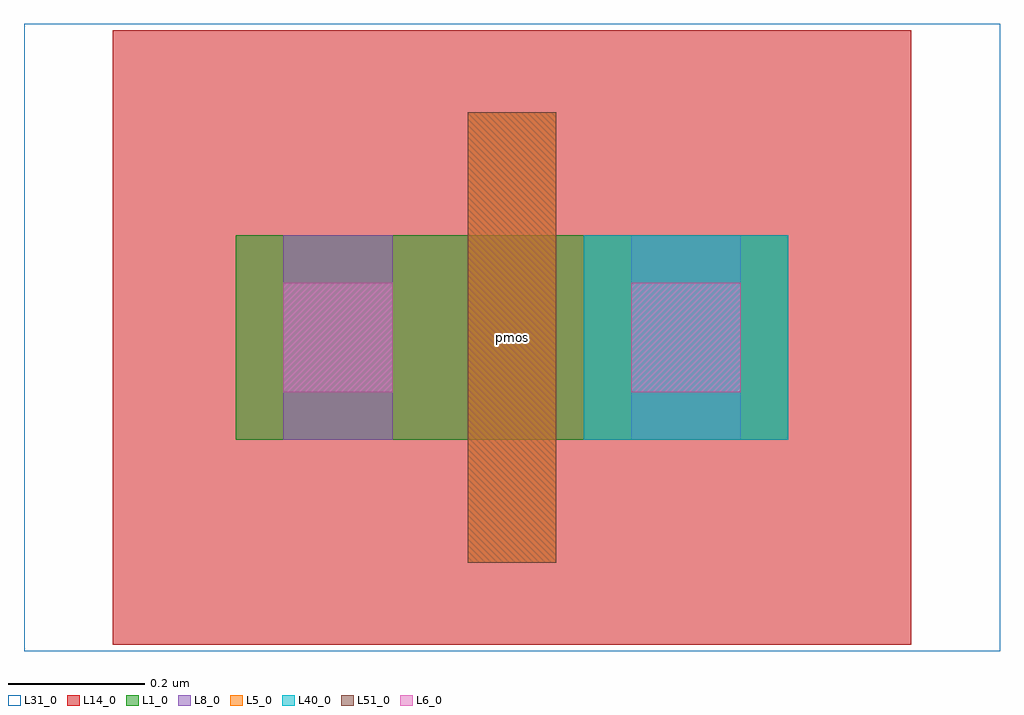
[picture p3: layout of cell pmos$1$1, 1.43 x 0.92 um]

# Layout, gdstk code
import gdstk
lib = gdstk.Library(unit=1e-6, precision=5e-09)
def R(c, l, rs):  # rectangles x0, y0, x1, y1
    for r in rs: c.add(gdstk.rectangle(r[:2], r[2:], *l))
L1_0 = (1, 0)
L5_0 = (5, 0)
L6_0 = (6, 0)
L8_0 = (8, 0)
L14_0 = (14, 0)
L31_0 = (31, 0)
L40_0 = (40, 0)
L51_0 = (51, 0)

pmos_1_1 = lib.new_cell('pmos$1$1')
R(pmos_1_1, L1_0, [(0,0,0.3,0.3), (0,0,0.81,0.3), (0.51,0,0.81,0.3)])
R(pmos_1_1, L5_0, [(0.34,-0.18,0.47,0.48), (0.34,-0.18,0.47,0.48)])
R(pmos_1_1, L6_0, [(0.07,0.07,0.23,0.23), (0.58,0.07,0.74,0.23)])
R(pmos_1_1, L8_0, [(0.07,0,0.23,0.3), (0.07,0,0.23,0.3), (0.58,0,0.74,0.3), (0.58,0,0.74,0.3)])
R(pmos_1_1, L14_0, [(-0.18,-0.3,0.99,0.6)])
R(pmos_1_1, L31_0, [(-0.31,-0.31,1.12,0.61)])
R(pmos_1_1, L40_0, [(0.51,0,0.81,0.3)])
R(pmos_1_1, L51_0, [(0.34,-0.18,0.47,0.48)])
pmos_1_1.add(gdstk.Label('pmos', (0.405,0.15), layer=63, texttype=0))
pmos_1_1.add(gdstk.Label('pmos', (0.405,0.15), layer=51, texttype=0))

lib.write_gds('pmos_1_1.gds')
